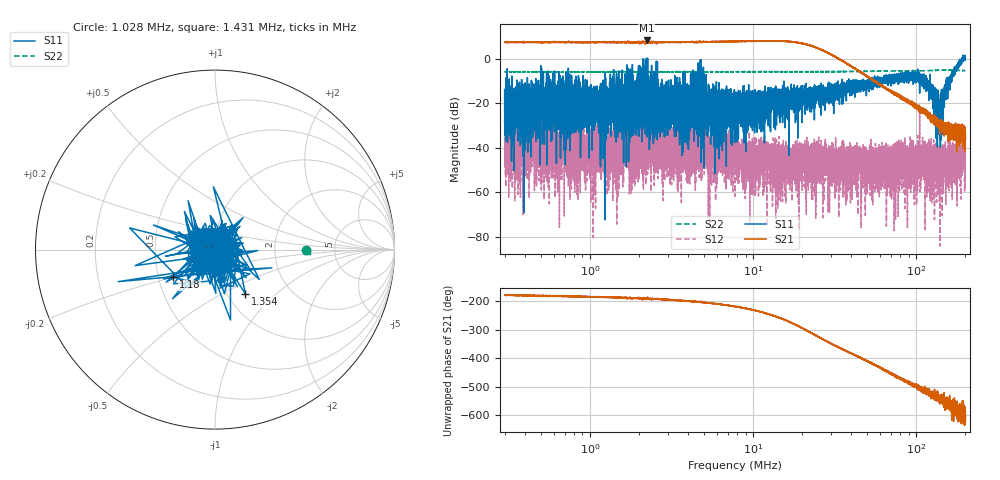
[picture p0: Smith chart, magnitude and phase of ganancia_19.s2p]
# Hz S DB R 50
! CMT, M5065, 19127446, 24.2.4/2
! Date: 11/1/2024 4:26:02 PM
! Data: Format (Calibration Info)
! Freq	S11:dB/Ang(F2)	S21:dB/Ang(F2)	S12:dB/Ang(F2)	S22:dB/Ang(F2)
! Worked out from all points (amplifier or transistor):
!   9000 points, 300 kHz to 200 MHz, reference 50 ohm
!   highest |S21| = 8.2 dB at 2.234 MHz (marker M1)
!   |S21| within 3 dB of that: start of sweep to 23.81 MHz (the widest 1 of 3)
!   unconditionally stable (mu >= 1): start of sweep to 2.111 MHz; 2.258 MHz to 4.709 MHz; 4.808 MHz to 190.3 MHz (the widest 3 of 24)
!   at 886.8 kHz: K = 30.93, MAG = 9.0 dB, |S12| = -46.3 dB
!   at 7.749 MHz: K = 53.37, MAG = 9.1 dB, |S12| = -51.0 dB
!   at 200 MHz: K = -113.09, MSG = 3.1 dB, |S12| = -42.1 dB
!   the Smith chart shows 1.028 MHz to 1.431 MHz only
!   S11 on the Smith chart (normalised r, x): 1.028 MHz: 0.96, +0.10; 1.18 MHz: 0.60, -0.20; 1.354 MHz: 1.21, -0.66; 1.431 MHz: 1.01, -0.34
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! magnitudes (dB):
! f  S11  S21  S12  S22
! 300 kHz  -13.8  7.5  -35.4  -5.9
! 321.3 kHz  -13.9  7.4  -38.7  -5.9
! 886.8 kHz  -14.5  7.6  -46.3  -5.9
! 1.028 MHz  -25.0  7.4  -34.2  -5.9
! 1.18 MHz  -11.1  7.6  -35.2  -5.8
! 1.354 MHz  -10.5  7.3  -47.8  -5.8
! 1.431 MHz  -15.6  7.4  -43.4  -5.8
! 2.234 MHz  0.2  8.2  -38.5  -5.9
! 2.621 MHz  -17.0  7.4  -45.9  -5.9
! 3.689 MHz  -35.6  7.5  -41.7  -5.8
! 4.827 MHz  -33.3  7.6  -36.6  -5.9
! 5.419 MHz  -23.4  7.6  -73.7  -5.9
! 7.749 MHz  -22.9  7.7  -51.0  -5.9
! 9.857 MHz  -18.9  7.9  -46.1  -5.9
! 22.91 MHz  -17.5  5.7  -42.1  -5.8
! 67.71 MHz  -9.8  -13.8  -41.9  -5.6
! 113.1 MHz  -8.2  -24.6  -39.6  -5.4
! 125.6 MHz  -13.1  -25.4  -52.2  -5.3
! 138.1 MHz  -22.2  -29.5  -51.1  -5.2
! 161.6 MHz  -9.5  -33.7  -42.9  -5.2
! 183 MHz  -1.0  -30.9  -45.7  -5.3
! 200 MHz  0.2  -35.9  -42.1  -5.3
